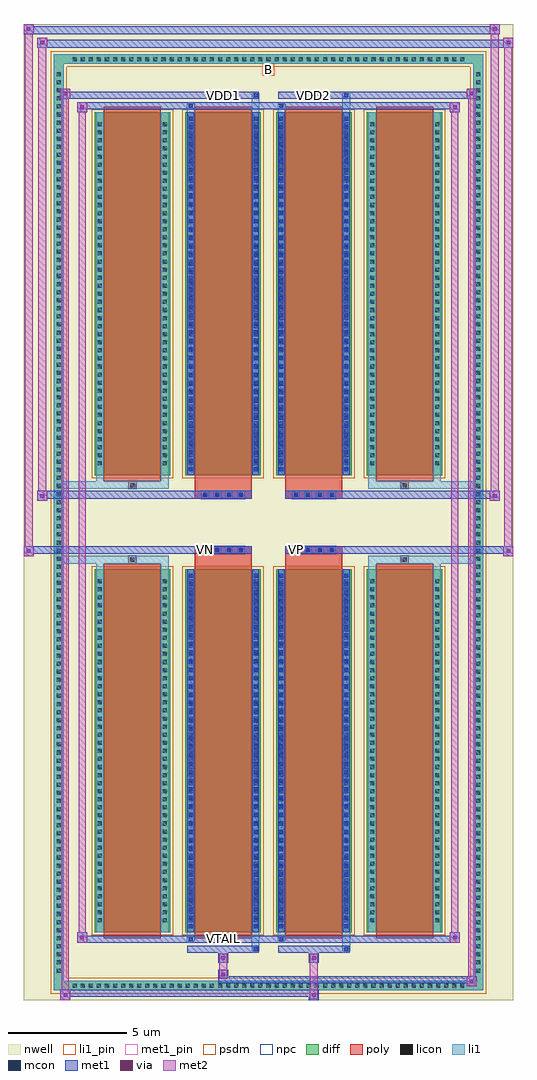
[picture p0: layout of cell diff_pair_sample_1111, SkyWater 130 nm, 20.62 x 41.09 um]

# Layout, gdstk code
import gdstk
lib = gdstk.Library(unit=1e-6, precision=5e-09)
def R(c, l, rs):  # rectangles x0, y0, x1, y1
    for r in rs: c.add(gdstk.rectangle(r[:2], r[2:], *l))
def A(c, l, x, y, w, h, nx, ny, dx, dy):  # array of equal rectangles
    R(c, l, [(x+i*dx, y+j*dy, x+i*dx+w, y+j*dy+h) for i in range(nx) for j in range(ny)])
def P(c, l, *ps):  # polygons
    for p in ps: c.add(gdstk.Polygon(p, *l))
nwell = (64, 20)
diff = (65, 20)
poly = (66, 20)
licon = (66, 44)
li1_pin = (67, 16)
li1 = (67, 20)
mcon = (67, 44)
met1_pin = (68, 16)
met1 = (68, 20)
via = (68, 44)
met2 = (69, 20)
psdm = (94, 20)
npc = (95, 20)

diff_pair_sample_1111 = lib.new_cell('diff_pair_sample_1111')
R(diff_pair_sample_1111, nwell, [(-10.31,-20.11,10.31,20.98), (-7.63,-18.3,-0.01,-0.8), (0.01,-18.3,7.63,-0.8), (-7.63,0.8,-0.01,18.3), (0.01,0.8,7.63,18.3)])
A(diff_pair_sample_1111, diff, -8.365, -19.71, 0.41, 0.41, 49, 2, 0.34, 39.01)
A(diff_pair_sample_1111, diff, -9.04, -19.075, 0.41, 0.41, 1, 112, 0, 0.34)
A(diff_pair_sample_1111, diff, 8.63, -19.075, 0.41, 0.41, 1, 112, 0, 0.34)
A(diff_pair_sample_1111, diff, -7.32, -17.255, 3.18, 15.27, 4, 2, 3.82, 19.24)
R(diff_pair_sample_1111, diff, [(-8.365,-19.71,8.365,-19.3), (-9.04,-19.075,-8.63,19.075), (8.63,-19.075,9.04,19.075), (-8.365,19.3,8.365,19.71)])
P(diff_pair_sample_1111, diff, [(9.04,19.71),(-9.04,19.71),(-9.04,-19.3),(-8.63,-19.3),(-8.63,19.3),(8.63,19.3),(8.63,-19.3),(-8.63,-19.3),(-9.04,-19.3),(-9.04,-19.71),(9.04,-19.71)])
A(diff_pair_sample_1111, poly, -6.93, -17.505, 2.4, 15.77, 4, 2, 3.82, 19.24)
A(diff_pair_sample_1111, poly, -2.825, -1.33, 0.33, 0.33, 4, 2, 0.5, 2.33)
A(diff_pair_sample_1111, poly, 0.995, -1.33, 0.33, 0.33, 4, 2, 0.5, 2.33)
R(diff_pair_sample_1111, poly, [(-5.895,-1.735,-5.565,-1.405), (-5.895,-1.735,-5.565,-1.405), (-3.11,-1.735,-0.71,-1.33), (0.71,-1.735,3.11,-1.33), (5.565,-1.735,5.895,-1.405), (5.565,-1.735,5.895,-1.405), (-3.11,-1.33,-0.71,-1), (0.71,-1.33,3.11,-1), (-3.11,1,-0.71,1.33), (0.71,1,3.11,1.33), (-3.11,1.33,-0.71,1.735), (0.71,1.33,3.11,1.735), (-5.895,1.405,-5.565,1.735), (-5.895,1.405,-5.565,1.735), (5.565,1.405,5.895,1.735), (5.565,1.405,5.895,1.735)])
A(diff_pair_sample_1111, licon, -8.245, -19.59, 0.17, 0.17, 49, 2, 0.34, 39.01)
A(diff_pair_sample_1111, licon, -8.92, -18.955, 0.17, 0.17, 1, 112, 0, 0.34)
A(diff_pair_sample_1111, licon, 8.75, -18.955, 0.17, 0.17, 1, 112, 0, 0.34)
A(diff_pair_sample_1111, licon, -7.18, -16.845, 0.17, 0.17, 1, 43, 0, 0.34)
A(diff_pair_sample_1111, licon, -4.45, -16.845, 0.17, 0.17, 1, 43, 0, 0.34)
A(diff_pair_sample_1111, licon, -3.36, -16.845, 0.17, 0.17, 1, 43, 0, 0.34)
A(diff_pair_sample_1111, licon, -0.63, -16.845, 0.17, 0.17, 1, 43, 0, 0.34)
A(diff_pair_sample_1111, licon, 0.46, -16.845, 0.17, 0.17, 1, 43, 0, 0.34)
A(diff_pair_sample_1111, licon, 3.19, -16.845, 0.17, 0.17, 1, 43, 0, 0.34)
A(diff_pair_sample_1111, licon, 4.28, -16.845, 0.17, 0.17, 1, 43, 0, 0.34)
A(diff_pair_sample_1111, licon, 7.01, -16.845, 0.17, 0.17, 1, 43, 0, 0.34)
A(diff_pair_sample_1111, licon, -2.745, -1.25, 0.17, 0.17, 4, 2, 0.5, 2.33)
A(diff_pair_sample_1111, licon, 1.075, -1.25, 0.17, 0.17, 4, 2, 0.5, 2.33)
A(diff_pair_sample_1111, licon, -7.18, 2.395, 0.17, 0.17, 1, 43, 0, 0.34)
A(diff_pair_sample_1111, licon, -4.45, 2.395, 0.17, 0.17, 1, 43, 0, 0.34)
A(diff_pair_sample_1111, licon, -3.36, 2.395, 0.17, 0.17, 1, 43, 0, 0.34)
A(diff_pair_sample_1111, licon, -0.63, 2.395, 0.17, 0.17, 1, 43, 0, 0.34)
A(diff_pair_sample_1111, licon, 0.46, 2.395, 0.17, 0.17, 1, 43, 0, 0.34)
A(diff_pair_sample_1111, licon, 3.19, 2.395, 0.17, 0.17, 1, 43, 0, 0.34)
A(diff_pair_sample_1111, licon, 4.28, 2.395, 0.17, 0.17, 1, 43, 0, 0.34)
A(diff_pair_sample_1111, licon, 7.01, 2.395, 0.17, 0.17, 1, 43, 0, 0.34)
R(diff_pair_sample_1111, licon, [(-5.815,-1.655,-5.645,-1.485), (5.645,-1.655,5.815,-1.485), (-5.815,1.485,-5.645,1.655), (5.645,1.485,5.815,1.655)])
R(diff_pair_sample_1111, li1_pin, [(-0.25,18.8,0.25,19.3)])
A(diff_pair_sample_1111, li1, -8.325, -19.67, 0.33, 0.33, 49, 2, 0.34, 39.01)
A(diff_pair_sample_1111, li1, -9, -19.035, 0.33, 0.33, 1, 112, 0, 0.34)
A(diff_pair_sample_1111, li1, 8.67, -19.035, 0.33, 0.33, 1, 112, 0, 0.34)
A(diff_pair_sample_1111, li1, -3.36, -17.085, 0.17, 0.17, 1, 42, 0, 0.36)
A(diff_pair_sample_1111, li1, -0.63, -17.085, 0.17, 0.17, 1, 42, 0, 0.36)
A(diff_pair_sample_1111, li1, 0.46, -17.085, 0.17, 0.17, 1, 42, 0, 0.36)
A(diff_pair_sample_1111, li1, 3.19, -17.085, 0.17, 0.17, 1, 42, 0, 0.36)
A(diff_pair_sample_1111, li1, -7.26, -16.925, 0.33, 0.33, 1, 43, 0, 0.34)
A(diff_pair_sample_1111, li1, -4.53, -16.925, 0.33, 0.33, 1, 43, 0, 0.34)
A(diff_pair_sample_1111, li1, -3.44, -16.925, 0.33, 0.33, 1, 43, 0, 0.34)
A(diff_pair_sample_1111, li1, -0.71, -16.925, 0.33, 0.33, 1, 43, 0, 0.34)
A(diff_pair_sample_1111, li1, 0.38, -16.925, 0.33, 0.33, 1, 43, 0, 0.34)
A(diff_pair_sample_1111, li1, 3.11, -16.925, 0.33, 0.33, 1, 43, 0, 0.34)
A(diff_pair_sample_1111, li1, 4.2, -16.925, 0.33, 0.33, 1, 43, 0, 0.34)
A(diff_pair_sample_1111, li1, 6.93, -16.925, 0.33, 0.33, 1, 43, 0, 0.34)
A(diff_pair_sample_1111, li1, -2.825, -1.33, 0.33, 0.33, 4, 2, 0.5, 2.33)
A(diff_pair_sample_1111, li1, 0.995, -1.33, 0.33, 0.33, 4, 2, 0.5, 2.33)
A(diff_pair_sample_1111, li1, -3.36, 2.155, 0.17, 0.17, 1, 42, 0, 0.36)
A(diff_pair_sample_1111, li1, -0.63, 2.155, 0.17, 0.17, 1, 42, 0, 0.36)
A(diff_pair_sample_1111, li1, 0.46, 2.155, 0.17, 0.17, 1, 42, 0, 0.36)
A(diff_pair_sample_1111, li1, 3.19, 2.155, 0.17, 0.17, 1, 42, 0, 0.36)
A(diff_pair_sample_1111, li1, -7.26, 2.315, 0.33, 0.33, 1, 43, 0, 0.34)
A(diff_pair_sample_1111, li1, -4.53, 2.315, 0.33, 0.33, 1, 43, 0, 0.34)
A(diff_pair_sample_1111, li1, -3.44, 2.315, 0.33, 0.33, 1, 43, 0, 0.34)
A(diff_pair_sample_1111, li1, -0.71, 2.315, 0.33, 0.33, 1, 43, 0, 0.34)
A(diff_pair_sample_1111, li1, 0.38, 2.315, 0.33, 0.33, 1, 43, 0, 0.34)
A(diff_pair_sample_1111, li1, 3.11, 2.315, 0.33, 0.33, 1, 43, 0, 0.34)
A(diff_pair_sample_1111, li1, 4.2, 2.315, 0.33, 0.33, 1, 43, 0, 0.34)
A(diff_pair_sample_1111, li1, 6.93, 2.315, 0.33, 0.33, 1, 43, 0, 0.34)
R(diff_pair_sample_1111, li1, [(-9.04,-19.71,-8.63,-19.3), (-9.04,-19.71,-8.63,-19.3), (-8.63,-19.71,8.63,-19.3), (8.63,-19.71,9.04,-19.3), (8.63,-19.71,9.04,-19.3), (-9.04,-19.3,-8.63,19.3), (8.63,-19.3,9.04,19.3), (-0.71,-18.06,-0.38,-17.255), (-0.63,-18.06,-0.46,-17.89), (3.11,-18.06,3.44,-17.255), (3.19,-18.06,3.36,-17.89), (-3.44,-17.63,-3.11,-17.255), (-3.36,-17.63,-3.19,-17.46), (0.38,-17.63,0.71,-17.255), (0.46,-17.63,0.63,-17.46), (-7.26,-17.255,-6.93,-1.985), (-4.53,-17.255,-4.2,-1.985), (-3.44,-17.255,-3.11,-1.985), (-0.71,-17.255,-0.38,-1.985), (0.38,-17.255,0.71,-1.985), (3.11,-17.255,3.44,-1.985), (4.2,-17.255,4.53,-1.985), (6.93,-17.255,7.26,-1.985), (-3.36,-17.085,-3.19,-2.155), (-0.63,-17.085,-0.46,-2.155), (0.46,-17.085,0.63,-2.155), (3.19,-17.085,3.36,-2.155), (-7.26,-1.985,-6.93,-1.405), (-4.53,-1.985,-4.2,-1.405), (4.2,-1.985,4.53,-1.405), (6.93,-1.985,7.26,-1.405), (-9.04,-1.735,-5.895,-1.405), (-7.26,-1.735,-5.895,-1.405), (-5.895,-1.735,-5.565,-1.405), (-5.565,-1.735,-4.2,-1.405), (4.2,-1.735,5.565,-1.405), (5.565,-1.735,5.895,-1.405), (5.565,-1.735,9.04,-1.405), (5.895,-1.735,7.26,-1.405), (-9.04,1.405,-5.895,1.735), (-7.26,1.405,-5.895,1.735), (-7.26,1.405,-6.93,1.985), (-5.895,1.405,-5.565,1.735), (-5.565,1.405,-4.2,1.735), (-4.53,1.405,-4.2,1.985), (4.2,1.405,5.565,1.735), (4.2,1.405,4.53,1.985), (5.565,1.405,5.895,1.735), (5.565,1.405,9.04,1.735), (5.895,1.405,7.26,1.735), (6.93,1.405,7.26,1.985), (-7.26,1.985,-6.93,17.255), (-4.53,1.985,-4.2,17.255), (-3.44,1.985,-3.11,17.255), (-0.71,1.985,-0.38,17.255), (0.38,1.985,0.71,17.255), (3.11,1.985,3.44,17.255), (4.2,1.985,4.53,17.255), (6.93,1.985,7.26,17.255), (-3.36,2.155,-3.19,17.085), (-0.63,2.155,-0.46,17.085), (0.46,2.155,0.63,17.085), (3.19,2.155,3.36,17.085), (-3.44,17.255,-3.11,17.63), (-0.71,17.255,-0.38,18.06), (0.38,17.255,0.71,17.63), (3.11,17.255,3.44,18.06), (-3.36,17.46,-3.19,17.63), (0.46,17.46,0.63,17.63), (-0.63,17.89,-0.46,18.06), (3.19,17.89,3.36,18.06), (-9.04,19.3,-8.63,19.71), (-9.04,19.3,-8.63,19.71), (-8.63,19.3,8.63,19.71), (8.63,19.3,9.04,19.71), (8.63,19.3,9.04,19.71)])
A(diff_pair_sample_1111, mcon, -3.36, -17.085, 0.17, 0.17, 1, 42, 0, 0.36)
A(diff_pair_sample_1111, mcon, -0.63, -17.085, 0.17, 0.17, 1, 42, 0, 0.36)
A(diff_pair_sample_1111, mcon, 0.46, -17.085, 0.17, 0.17, 1, 42, 0, 0.36)
A(diff_pair_sample_1111, mcon, 3.19, -17.085, 0.17, 0.17, 1, 42, 0, 0.36)
A(diff_pair_sample_1111, mcon, -2.745, -1.25, 0.17, 0.17, 4, 2, 0.5, 2.33)
A(diff_pair_sample_1111, mcon, 1.075, -1.25, 0.17, 0.17, 4, 2, 0.5, 2.33)
A(diff_pair_sample_1111, mcon, -3.36, 2.155, 0.17, 0.17, 1, 42, 0, 0.36)
A(diff_pair_sample_1111, mcon, -0.63, 2.155, 0.17, 0.17, 1, 42, 0, 0.36)
A(diff_pair_sample_1111, mcon, 0.46, 2.155, 0.17, 0.17, 1, 42, 0, 0.36)
A(diff_pair_sample_1111, mcon, 3.19, 2.155, 0.17, 0.17, 1, 42, 0, 0.36)
R(diff_pair_sample_1111, mcon, [(-0.63,-18.06,-0.46,-17.89), (3.19,-18.06,3.36,-17.89), (-3.36,-17.63,-3.19,-17.46), (0.46,-17.63,0.63,-17.46), (-3.36,17.46,-3.19,17.63), (0.46,17.46,0.63,17.63), (-0.63,17.89,-0.46,18.06), (3.19,17.89,3.36,18.06)])
R(diff_pair_sample_1111, met1_pin, [(-2.045,-17.67,-1.775,-17.4), (-2.795,-1.29,-2.525,-1.02), (1.025,-1.29,1.295,-1.02), (-2.045,17.85,-1.775,18.12), (1.775,17.85,2.045,18.12)])
A(diff_pair_sample_1111, met1, -3.42, -17.145, 0.29, 0.29, 1, 42, 0, 0.36)
A(diff_pair_sample_1111, met1, -0.69, -17.145, 0.29, 0.29, 1, 42, 0, 0.36)
A(diff_pair_sample_1111, met1, 0.4, -17.145, 0.29, 0.29, 1, 42, 0, 0.36)
A(diff_pair_sample_1111, met1, 3.13, -17.145, 0.29, 0.29, 1, 42, 0, 0.36)
A(diff_pair_sample_1111, met1, -2.805, -1.31, 0.29, 0.29, 4, 2, 0.5, 2.33)
A(diff_pair_sample_1111, met1, 1.015, -1.31, 0.29, 0.29, 4, 2, 0.5, 2.33)
A(diff_pair_sample_1111, met1, -3.42, 2.095, 0.29, 0.29, 1, 42, 0, 0.36)
A(diff_pair_sample_1111, met1, -0.69, 2.095, 0.29, 0.29, 1, 42, 0, 0.36)
A(diff_pair_sample_1111, met1, 0.4, 2.095, 0.29, 0.29, 1, 42, 0, 0.36)
A(diff_pair_sample_1111, met1, 3.13, 2.095, 0.29, 0.29, 1, 42, 0, 0.36)
R(diff_pair_sample_1111, met1, [(-8.77,-20.11,-8.34,-19.68), (1.695,-20.11,2.125,-19.68), (-8.77,-19.97,2.125,-19.68), (8.34,-19.54,8.77,-19.11), (-2.125,-19.4,8.77,-19.11), (-2.125,-19.26,-1.695,-18.83), (-2.125,-18.55,-1.695,-18.12), (1.695,-18.55,2.125,-18.12), (-3.42,-18.12,-0.4,-17.83), (-0.69,-18.12,-0.4,-17.83), (0.4,-18.12,3.42,-17.83), (3.13,-18.12,3.42,-17.83), (-8.06,-17.69,-7.63,-17.26), (-8.06,-17.69,-3.42,-17.4), (-3.42,-17.69,-3.13,-17.4), (-3.42,-17.69,-0.4,-17.4), (-0.4,-17.69,0.4,-17.4), (0.4,-17.69,0.69,-17.4), (0.4,-17.69,3.42,-17.4), (3.42,-17.69,8.06,-17.4), (7.63,-17.69,8.06,-17.26), (-3.42,-17.255,-3.13,-1.985), (-0.69,-17.255,-0.4,-1.985), (0.4,-17.255,0.69,-1.985), (3.13,-17.255,3.42,-1.985), (-10.31,-1.43,-9.88,-1), (9.88,-1.43,10.31,-1), (-10.31,-1.33,-0.71,-1), (-3.11,-1.33,-0.71,-1), (0.71,-1.33,3.11,-1), (0.71,-1.33,10.31,-1), (-9.74,0.9,-9.31,1.33), (9.31,0.9,9.74,1.33), (-9.74,1,-3.11,1.33), (-3.11,1,-0.71,1.33), (0.71,1,3.11,1.33), (3.11,1,9.74,1.33), (-3.42,1.985,-3.13,17.255), (-0.69,1.985,-0.4,17.255), (0.4,1.985,0.69,17.255), (3.13,1.985,3.42,17.255), (-8.06,17.26,-7.63,17.69), (7.63,17.26,8.06,17.69), (-8.06,17.4,-3.42,17.69), (-3.42,17.4,-3.13,17.69), (-3.42,17.4,-0.4,17.69), (-0.4,17.4,0.4,17.69), (0.4,17.4,0.69,17.69), (0.4,17.4,3.42,17.69), (3.42,17.4,8.06,17.69), (-8.77,17.83,-8.34,18.26), (-8.77,17.83,-3.42,18.12), (-3.42,17.83,-0.4,18.12), (-0.69,17.83,-0.4,18.12), (0.4,17.83,3.42,18.12), (3.13,17.83,3.42,18.12), (3.42,17.83,8.77,18.12), (8.34,17.83,8.77,18.26), (-9.74,19.98,-9.31,20.41), (-9.74,19.98,-7.63,20.31), (-7.63,19.98,7.63,20.31), (7.63,19.98,10.31,20.31), (9.88,19.98,10.31,20.41), (-10.31,20.55,-9.88,20.98), (-10.31,20.55,-7.63,20.88), (-7.63,20.55,7.63,20.88), (7.63,20.55,9.74,20.88), (9.31,20.55,9.74,20.98)])
R(diff_pair_sample_1111, via, [(-8.63,-19.97,-8.48,-19.82), (1.835,-19.97,1.985,-19.82), (8.48,-19.4,8.63,-19.25), (-1.985,-19.12,-1.835,-18.97), (-1.985,-18.41,-1.835,-18.26), (1.835,-18.41,1.985,-18.26), (-7.92,-17.55,-7.77,-17.4), (7.77,-17.55,7.92,-17.4), (-10.17,-1.29,-10.02,-1.14), (10.02,-1.29,10.17,-1.14), (-9.6,1.04,-9.45,1.19), (9.45,1.04,9.6,1.19), (-7.92,17.4,-7.77,17.55), (7.77,17.4,7.92,17.55), (-8.63,17.97,-8.48,18.12), (8.48,17.97,8.63,18.12), (-9.6,20.12,-9.45,20.27), (10.02,20.12,10.17,20.27), (-10.17,20.69,-10.02,20.84), (9.45,20.69,9.6,20.84)])
R(diff_pair_sample_1111, met2, [(-8.77,-20.11,-8.34,-19.68), (-8.7,-20.11,-8.41,18.26), (-8.41,-20.11,-8.34,-19.68), (-8.72,-20.06,-8.39,-19.73), (1.745,-20.06,2.075,-19.73), (1.745,-19.73,2.075,-18.5), (8.34,-19.54,8.77,-19.11), (8.41,-19.54,8.7,18.26), (8.7,-19.54,8.77,-19.11), (8.39,-19.49,8.72,-19.16), (-2.075,-19.21,-1.745,-18.88), (-2.075,-18.88,-1.745,-18.5), (-2.075,-18.5,-1.745,-18.17), (1.745,-18.5,2.075,-18.17), (-8.06,-17.69,-7.63,-17.26), (-7.99,-17.69,-7.7,17.69), (-7.7,-17.69,-7.63,-17.26), (7.63,-17.69,8.06,-17.26), (7.7,-17.69,7.99,17.69), (7.99,-17.69,8.06,-17.26), (-8.01,-17.64,-7.68,-17.31), (7.68,-17.64,8.01,-17.31), (-10.31,-1.43,-9.88,-1), (-10.26,-1.43,-9.93,20.98), (-9.93,-1.43,-9.88,-1), (9.88,-1.43,10.31,-1), (9.93,-1.43,10.26,20.41), (10.26,-1.43,10.31,-1), (-10.26,-1.38,-9.93,-1.05), (9.93,-1.38,10.26,-1.05), (-9.74,0.9,-9.31,1.33), (-9.69,0.9,-9.36,20.41), (-9.36,0.9,-9.31,1.33), (9.31,0.9,9.74,1.33), (9.36,0.9,9.69,20.98), (9.69,0.9,9.74,1.33), (-9.69,0.95,-9.36,1.28), (9.36,0.95,9.69,1.28), (-8.06,17.26,-7.63,17.69), (-7.7,17.26,-7.63,17.69), (7.63,17.26,8.06,17.69), (7.99,17.26,8.06,17.69), (-8.01,17.31,-7.68,17.64), (7.68,17.31,8.01,17.64), (-8.77,17.83,-8.34,18.26), (-8.41,17.83,-8.34,18.26), (8.34,17.83,8.77,18.26), (8.7,17.83,8.77,18.26), (-8.72,17.88,-8.39,18.21), (8.39,17.88,8.72,18.21), (-9.74,19.98,-9.31,20.41), (-9.36,19.98,-9.31,20.41), (9.88,19.98,10.31,20.41), (10.26,19.98,10.31,20.41), (-9.69,20.03,-9.36,20.36), (9.93,20.03,10.26,20.36), (-10.31,20.55,-9.88,20.98), (-9.93,20.55,-9.88,20.98), (9.31,20.55,9.74,20.98), (9.69,20.55,9.74,20.98), (-10.26,20.6,-9.93,20.93), (9.36,20.6,9.69,20.93)])
A(diff_pair_sample_1111, psdm, -7.45, -17.385, 3.44, 15.53, 4, 2, 3.82, 19.24)
P(diff_pair_sample_1111, psdm, [(9.17,19.84),(-9.17,19.84),(-9.17,-19.17),(-8.5,-19.17),(-8.5,19.17),(8.5,19.17),(8.5,-19.17),(-8.5,-19.17),(-9.17,-19.17),(-9.17,-19.84),(9.17,-19.84)])
A(diff_pair_sample_1111, npc, -2.845, -1.35, 0.37, 0.37, 4, 2, 0.5, 2.33)
A(diff_pair_sample_1111, npc, 0.975, -1.35, 0.37, 0.37, 4, 2, 0.5, 2.33)
R(diff_pair_sample_1111, npc, [(-5.915,-1.755,-5.545,-1.385), (5.545,-1.755,5.915,-1.385), (-2.845,-1.35,-1.975,-0.98), (-2.845,-1.35,-1.975,-0.98), (-2.345,-1.35,-1.475,-0.98), (-2.345,-1.35,-1.475,-0.98), (-1.845,-1.35,-0.975,-0.98), (-1.845,-1.35,-0.975,-0.98), (0.975,-1.35,1.845,-0.98), (0.975,-1.35,1.845,-0.98), (1.475,-1.35,2.345,-0.98), (1.475,-1.35,2.345,-0.98), (1.975,-1.35,2.845,-0.98), (1.975,-1.35,2.845,-0.98), (-2.845,0.98,-1.975,1.35), (-2.845,0.98,-1.975,1.35), (-2.345,0.98,-1.475,1.35), (-2.345,0.98,-1.475,1.35), (-1.845,0.98,-0.975,1.35), (-1.845,0.98,-0.975,1.35), (0.975,0.98,1.845,1.35), (0.975,0.98,1.845,1.35), (1.475,0.98,2.345,1.35), (1.475,0.98,2.345,1.35), (1.975,0.98,2.845,1.35), (1.975,0.98,2.845,1.35), (-5.915,1.385,-5.545,1.755), (5.545,1.385,5.915,1.755)])
diff_pair_sample_1111.add(gdstk.Label('VTAIL', (-1.91,-17.535), layer=68, texttype=5))
diff_pair_sample_1111.add(gdstk.Label('VN', (-2.66,-1.155), layer=68, texttype=5))
diff_pair_sample_1111.add(gdstk.Label('VP', (1.16,-1.155), layer=68, texttype=5))
diff_pair_sample_1111.add(gdstk.Label('B', (0,19.05), layer=67, texttype=5))
diff_pair_sample_1111.add(gdstk.Label('VDD2', (1.91,17.985), layer=68, texttype=5))
diff_pair_sample_1111.add(gdstk.Label('VDD1', (-1.91,17.985), layer=68, texttype=5))

lib.write_gds('diff_pair_sample_1111.gds')
